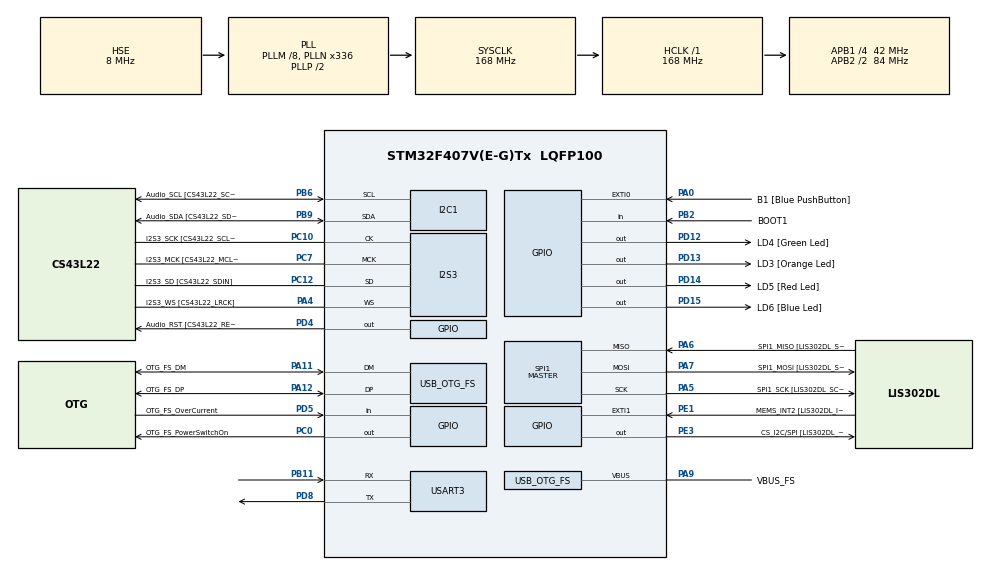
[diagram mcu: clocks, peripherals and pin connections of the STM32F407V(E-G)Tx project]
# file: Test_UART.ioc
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I2S3.AudioFreq-Half_Duplex_Master=I2S_AUDIOFREQ_96K
I2S3.ErrorAudioFreq=-2.34 %
I2S3.ErrorAudioFreq-Half_Duplex_Master=0.8 %
I2S3.FullDuplexMode=I2S_FULLDUPLEXMODE_DISABLE
I2S3.Instance=SPI$Index
I2S3.RealAudioFreq=93.75 KHz
I2S3.RealAudioFreq-Half_Duplex_Master=96.774 KHz
I2S3.VirtualMode=I2S_MODE_MASTER
Mcu.Family=STM32F4
Mcu.Name=STM32F407V(E-G)Tx
Mcu.Package=LQFP100
NVIC.OTG_FS_IRQn=true\:0\:0\:false\:false\:true\:true\:true
NVIC.PriorityGroup=NVIC_PRIORITYGROUP_0
PA0-WKUP.GPIO_Label=B1 [Blue PushButton]
PA0-WKUP.GPIO_ModeDefaultEXTI=GPIO_MODE_EVT_RISING
PA0-WKUP.GPIO_PuPd=GPIO_NOPULL
PA0-WKUP.Signal=GPXTI0
PA10.GPIO_Label=OTG_FS_ID
PA10.GPIO_Mode=GPIO_MODE_AF_PP
PA10.GPIO_PuPd=GPIO_NOPULL
PA10.GPIO_Speed=GPIO_SPEED_FREQ_LOW
PA10.Signal=USB_OTG_FS_ID
PA11.GPIO_Label=OTG_FS_DM
PA11.GPIO_Mode=GPIO_MODE_AF_PP
PA11.GPIO_PuPd=GPIO_NOPULL
PA11.GPIO_Speed=GPIO_SPEED_FREQ_LOW
PA11.Mode=Host_Only
PA11.Signal=USB_OTG_FS_DM
PA12.GPIO_Label=OTG_FS_DP
PA12.GPIO_Mode=GPIO_MODE_AF_PP
PA12.GPIO_PuPd=GPIO_NOPULL
PA12.GPIO_Speed=GPIO_SPEED_FREQ_LOW
PA12.Mode=Host_Only
PA12.Signal=USB_OTG_FS_DP
PA13.GPIO_Label=SWDIO
PA13.Mode=Serial_Wire
PA13.Signal=SYS_JTMS-SWDIO
PA14.GPIO_Label=SWCLK
PA14.Mode=Serial_Wire
PA14.Signal=SYS_JTCK-SWCLK
PA4.GPIO_Label=I2S3_WS [CS43L22_LRCK]
PA4.GPIO_Mode=GPIO_MODE_AF_PP
PA4.GPIO_PuPd=GPIO_NOPULL
PA4.GPIO_Speed=GPIO_SPEED_FREQ_LOW
PA4.Mode=Half_Duplex_Master
PA4.Signal=I2S3_WS
PA5.GPIO_Label=SPI1_SCK [LIS302DL_SCL/SPC]
PA5.GPIO_Mode=GPIO_MODE_AF_PP
PA5.GPIO_PuPd=GPIO_NOPULL
PA5.GPIO_Speed=GPIO_SPEED_FREQ_LOW
PA5.Mode=Full_Duplex_Master
PA5.Signal=SPI1_SCK
PA6.GPIO_Label=SPI1_MISO [LIS302DL_SDO]
PA6.GPIO_Mode=GPIO_MODE_AF_PP
PA6.GPIO_PuPd=GPIO_NOPULL
PA6.GPIO_Speed=GPIO_SPEED_FREQ_LOW
PA6.Mode=Full_Duplex_Master
PA6.Signal=SPI1_MISO
PA7.GPIO_Label=SPI1_MOSI [LIS302DL_SDA/SDI/SDO]
PA7.GPIO_Mode=GPIO_MODE_AF_PP
PA7.GPIO_PuPd=GPIO_NOPULL
PA7.GPIO_Speed=GPIO_SPEED_FREQ_LOW
PA7.Mode=Full_Duplex_Master
PA7.Signal=SPI1_MOSI
PA9.GPIO_Label=VBUS_FS
PA9.GPIO_Mode=GPIO_MODE_INPUT
PA9.GPIO_PuPd=GPIO_NOPULL
PA9.Mode=Activate_VBUS
PA9.Signal=USB_OTG_FS_VBUS
PB10.GPIO_Label=CLK_IN [MP45DT02_CLK]
PB10.GPIO_Mode=GPIO_MODE_AF_PP
PB10.GPIO_PuPd=GPIO_NOPULL
PB10.GPIO_Speed=GPIO_SPEED_FREQ_LOW
PB10.Signal=I2S2_CK
PB11.Mode=Asynchronous
PB11.Signal=USART3_RX
PB2.GPIO_Label=BOOT1
PB2.GPIO_Mode=GPIO_MODE_INPUT
PB2.GPIO_PuPd=GPIO_NOPULL
PB2.Signal=GPIO_Input
PB3.GPIO_Label=SWO
PB3.Signal=SYS_JTDO-SWO
PB6.GPIO_Label=Audio_SCL [CS43L22_SCL]
PB6.GPIO_Mode=GPIO_MODE_AF_OD
PB6.GPIO_PuPd=GPIO_NOPULL
PB6.GPIO_Speed=GPIO_SPEED_FREQ_LOW
PB6.Mode=I2C
PB6.Signal=I2C1_SCL
PB9.GPIO_Label=Audio_SDA [CS43L22_SDA]
PB9.GPIO_Mode=GPIO_MODE_AF_OD
PB9.GPIO_PuPd=GPIO_NOPULL
PB9.GPIO_Speed=GPIO_SPEED_FREQ_LOW
PB9.Mode=I2C
PB9.Signal=I2C1_SDA
PC0.GPIO_Label=OTG_FS_PowerSwitchOn
PC0.GPIO_PuPd=GPIO_NOPULL
PC0.GPIO_Speed=GPIO_SPEED_FREQ_LOW
PC0.PinState=GPIO_PIN_SET
PC0.Signal=GPIO_Output
PC10.GPIO_Label=I2S3_SCK [CS43L22_SCLK]
PC10.GPIO_Mode=GPIO_MODE_AF_PP
PC10.GPIO_PuPd=GPIO_NOPULL
PC10.GPIO_Speed=GPIO_SPEED_FREQ_LOW
PC10.Mode=Half_Duplex_Master
PC10.Signal=I2S3_CK
PC12.GPIO_Label=I2S3_SD [CS43L22_SDIN]
PC12.GPIO_Mode=GPIO_MODE_AF_PP
PC12.GPIO_PuPd=GPIO_NOPULL
PC12.GPIO_Speed=GPIO_SPEED_FREQ_LOW
PC12.Mode=Half_Duplex_Master
PC12.Signal=I2S3_SD
PC14-OSC32_IN.GPIO_Label=PC14-OSC32_IN
PC14-OSC32_IN.Mode=LSE-External-Oscillator
PC14-OSC32_IN.Signal=RCC_OSC32_IN
PC15-OSC32_OUT.GPIO_Label=PC15-OSC32_OUT
PC15-OSC32_OUT.Mode=LSE-External-Oscillator
PC15-OSC32_OUT.Signal=RCC_OSC32_OUT
PC3.GPIO_Label=PDM_OUT [MP45DT02_DOUT]
PC3.GPIO_Mode=GPIO_MODE_AF_PP
PC3.GPIO_PuPd=GPIO_NOPULL
PC3.GPIO_Speed=GPIO_SPEED_FREQ_LOW
PC3.Signal=I2S2_SD
PC7.GPIO_Label=I2S3_MCK [CS43L22_MCLK]
PC7.GPIO_Mode=GPIO_MODE_AF_PP
PC7.GPIO_PuPd=GPIO_NOPULL
PC7.GPIO_Speed=GPIO_SPEED_FREQ_LOW
PC7.Mode=Master_Clock_Activated
PC7.Signal=I2S3_MCK
PD12.GPIO_Label=LD4 [Green Led]
PD12.GPIO_PuPd=GPIO_NOPULL
PD12.GPIO_Speed=GPIO_SPEED_FREQ_LOW
PD12.Signal=GPIO_Output
PD13.GPIO_Label=LD3 [Orange Led]
PD13.GPIO_PuPd=GPIO_NOPULL
PD13.GPIO_Speed=GPIO_SPEED_FREQ_LOW
PD13.Signal=GPIO_Output
PD14.GPIO_Label=LD5 [Red Led]
PD14.GPIO_PuPd=GPIO_NOPULL
PD14.GPIO_Speed=GPIO_SPEED_FREQ_LOW
PD14.Signal=GPIO_Output
PD15.GPIO_Label=LD6 [Blue Led]
PD15.GPIO_PuPd=GPIO_NOPULL
PD15.GPIO_Speed=GPIO_SPEED_FREQ_LOW
PD15.Signal=GPIO_Output
PD4.GPIO_Label=Audio_RST [CS43L22_RESET]
PD4.GPIO_PuPd=GPIO_NOPULL
PD4.GPIO_Speed=GPIO_SPEED_FREQ_LOW
PD4.Signal=GPIO_Output
PD5.GPIO_Label=OTG_FS_OverCurrent
PD5.GPIO_Mode=GPIO_MODE_INPUT
PD5.GPIO_PuPd=GPIO_NOPULL
PD5.Signal=GPIO_Input
PD8.Mode=Asynchronous
PD8.Signal=USART3_TX
PE1.GPIO_Label=MEMS_INT2 [LIS302DL_INT2]
PE1.GPIO_ModeDefaultEXTI=GPIO_MODE_EVT_RISING
PE1.GPIO_PuPd=GPIO_NOPULL
PE1.Signal=GPXTI1
PE3.GPIO_Label=CS_I2C/SPI [LIS302DL_CS_I2C/SPI]
PE3.GPIO_PuPd=GPIO_NOPULL
PE3.GPIO_Speed=GPIO_SPEED_FREQ_LOW
PE3.Signal=GPIO_Output
PH0-OSC_IN.GPIO_Label=PH0-OSC_IN
PH0-OSC_IN.Mode=HSE-External-Oscillator
PH0-OSC_IN.Signal=RCC_OSC_IN
PH1-OSC_OUT.GPIO_Label=PH1-OSC_OUT
PH1-OSC_OUT.Mode=HSE-External-Oscillator
PH1-OSC_OUT.Signal=RCC_OSC_OUT
ProjectManager.HeapSize=0x200
ProjectManager.StackSize=0x400
ProjectManager.TargetToolchain=TrueSTUDIO
RCC.48MHZClocksFreq_Value=48000000
RCC.AHBFreq_Value=168000000
RCC.APB1CLKDivider=RCC_HCLK_DIV4
RCC.APB1Freq_Value=42000000
RCC.APB1TimFreq_Value=84000000
RCC.APB2CLKDivider=RCC_HCLK_DIV2
RCC.APB2Freq_Value=84000000
RCC.APB2TimFreq_Value=168000000
RCC.CortexFreq_Value=168000000
RCC.HCLKFreq_Value=168000000
RCC.HSE_VALUE=8000000
RCC.HSI_VALUE=16000000
RCC.PLLM=8
RCC.PLLN=336
RCC.PLLQ=7
RCC.SYSCLKFreq_VALUE=168000000
RCC.SYSCLKSource=RCC_SYSCLKSOURCE_PLLCLK
RCC.VCOOutputFreq_Value=336000000
SPI1.BaudRatePrescaler-Full_Duplex_Master=SPI_BAUDRATEPRESCALER_2
SPI1.CalculateBaudRate-Full_Duplex_Master=42.0 MBits/s
SPI1.Direction=SPI_DIRECTION_2LINES
SPI1.Mode=SPI_MODE_MASTER
SPI1.Mode-Full_Duplex_Master=SPI_MODE_MASTER
SPI1.VirtualType=VM_MASTER
USART3.VirtualMode=VM_ASYNC
USB_HOST.BSP.number=1
USB_HOST.USBH_HandleTypeDef-CDC_FS=hUsbHostFS
USB_HOST.VirtualModeFS=Cdc
USB_HOST0.BSP.STBoard=false
USB_HOST0.BSP.api=Unknown
USB_HOST0.BSP.i2caddr=0
USB_HOST0.BSP.i2creg=0
USB_HOST0.BSP.instance=PC0
USB_HOST0.BSP.ip=GPIO
USB_HOST0.BSP.mode=Output
USB_HOST0.BSP.name=Drive_VBUS_FS
USB_HOST0.BSP.solution=PC0
USB_OTG_FS.VirtualMode=Host_Only
USB_OTG_FS.phy_itface=HCD_PHY_EMBEDDED
VP_USB_HOST_VS_USB_HOST_CDC_FS.Mode=CDC_FS
board=STM32F407G-DISC1

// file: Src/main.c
/* USER CODE BEGIN Header */
/**
  ******************************************************************************
  * @file           : main.c
  * @brief          : Main program body
  ******************************************************************************
  * @attention
  *
  * <h2><center>&copy; Copyright (c) 2020 STMicroelectronics.
  * All rights reserved.</center></h2>
  *
  * This software component is licensed by ST under Ultimate Liberty license
  * SLA0044, the "License"; You may not use this file except in compliance with
  * the License. You may obtain a copy of the License at:
  *                             www.st.com/SLA0044
  *
  ******************************************************************************
  */
/* USER CODE END Header */

#include "main.h"
#include "usb_host.h"

I2C_HandleTypeDef hi2c1;

I2S_HandleTypeDef hi2s3;

SPI_HandleTypeDef hspi1;

UART_HandleTypeDef huart3;

void SystemClock_Config(void);
static void MX_GPIO_Init(void);
static void MX_I2C1_Init(void);
static void MX_I2S3_Init(void);
static void MX_SPI1_Init(void);
static void MX_USART3_UART_Init(void);
void MX_USB_HOST_Process(void);

int main(void)
{

  /* MCU Configuration--------------------------------------------------------*/

  /* Reset of all peripherals, Initializes the Flash interface and the Systick. */
  HAL_Init();

  /* Configure the system clock */
  SystemClock_Config();

  /* USER CODE BEGIN SysInit */
  int8_t ThresholdHigh = 100;
  int8_t ThresholdLow = -100;

  /* USER CODE END SysInit */

  /* Initialize all configured peripherals */
  MX_GPIO_Init();
  MX_I2C1_Init();
  MX_I2S3_Init();
  MX_SPI1_Init();
  MX_USART3_UART_Init();
  MX_USB_HOST_Init();

  /* Infinite loop */
  while (1)
  {
    MX_USB_HOST_Process();

    /* USER CODE BEGIN 3 */
    if(BSP_ACCELERO_Init() != HAL_OK)
      {
        /* Initialization Error */
        Error_Handler();
      }

      while(1)
      {
    	  /* Accelerometer variables */
    	  	int8_t buffer[3] = {0};
    	    int8_t xval, yval = 0x00;

    	    /* Read Acceleration */
    	    BSP_ACCELERO_GetXYZ(buffer);

    	    xval = buffer[0];
    	    yval = buffer[1];

    	    if((ABS(xval))>(ABS(yval)))
    	    {
    	      if(xval > ThresholdHigh)
    	      {
    	        HAL_UART_Transmit( &huart3, ["X", (char)100], 1, 1000 );
    	        HAL_Delay(10);
    	      }
    	      else if(xval < ThresholdLow)
    	      {
    	        HAL_UART_Transmit( &huart3, ["X", (char)-100], 1, 1000 );
    	        HAL_Delay(10);
    	      }
    	      else
    	      {
				HAL_UART_Transmit( &huart3, ["X", (char)xval], 1, 1000 );
				HAL_Delay(10);
			  }
    	    }
    	    else
    	    {
    	      if(yval < ThresholdLow)
    	      {
    	        HAL_UART_Transmit( &huart3, ["Y", (char)100], 1, 1000 );
    	        HAL_Delay(10);
    	      }
    	      else if(yval > ThresholdHigh)
    	      {
    	        HAL_UART_Transmit( &huart3, ["Y", (char)-100], 1, 1000 );
    	        HAL_Delay(10);
    	      }
    	      else
    	      {
      	        HAL_UART_Transmit( &huart3, ["Y", (char)yval], 1, 1000 );
      	        HAL_Delay(10);
    	      }
    	    }

    	    // BSP_LED_Off(LD3_Pin);
    	    // BSP_LED_Off(LD4_Pin);
    	    // BSP_LED_Off(LD5_Pin);
    	    // BSP_LED_Off(LD6_Pin);
      }
  }
  /* USER CODE END 3 */
}

void SystemClock_Config(void)
{
  RCC_OscInitTypeDef RCC_OscInitStruct = {0};
  RCC_ClkInitTypeDef RCC_ClkInitStruct = {0};
  RCC_PeriphCLKInitTypeDef PeriphClkInitStruct = {0};

  /** Configure the main internal regulator output voltage
  */
  __HAL_RCC_PWR_CLK_ENABLE();
  __HAL_PWR_VOLTAGESCALING_CONFIG(PWR_REGULATOR_VOLTAGE_SCALE1);
  /** Initializes the CPU, AHB and APB busses clocks
  */
  RCC_OscInitStruct.OscillatorType = RCC_OSCILLATORTYPE_HSE;
  RCC_OscInitStruct.HSEState = RCC_HSE_ON;
  RCC_OscInitStruct.PLL.PLLState = RCC_PLL_ON;
  RCC_OscInitStruct.PLL.PLLSource = RCC_PLLSOURCE_HSE;
  RCC_OscInitStruct.PLL.PLLM = 8;
  RCC_OscInitStruct.PLL.PLLN = 336;
  RCC_OscInitStruct.PLL.PLLP = RCC_PLLP_DIV2;
  RCC_OscInitStruct.PLL.PLLQ = 7;
  if (HAL_RCC_OscConfig(&RCC_OscInitStruct) != HAL_OK)
  {
    Error_Handler();
  }
  /** Initializes the CPU, AHB and APB busses clocks
  */
  RCC_ClkInitStruct.ClockType = RCC_CLOCKTYPE_HCLK|RCC_CLOCKTYPE_SYSCLK
                              |RCC_CLOCKTYPE_PCLK1|RCC_CLOCKTYPE_PCLK2;
  RCC_ClkInitStruct.SYSCLKSource = RCC_SYSCLKSOURCE_PLLCLK;
  RCC_ClkInitStruct.AHBCLKDivider = RCC_SYSCLK_DIV1;
  RCC_ClkInitStruct.APB1CLKDivider = RCC_HCLK_DIV4;
  RCC_ClkInitStruct.APB2CLKDivider = RCC_HCLK_DIV2;

  if (HAL_RCC_ClockConfig(&RCC_ClkInitStruct, FLASH_LATENCY_5) != HAL_OK)
  {
    Error_Handler();
  }
  PeriphClkInitStruct.PeriphClockSelection = RCC_PERIPHCLK_I2S;
  PeriphClkInitStruct.PLLI2S.PLLI2SN = 192;
  PeriphClkInitStruct.PLLI2S.PLLI2SR = 2;
  if (HAL_RCCEx_PeriphCLKConfig(&PeriphClkInitStruct) != HAL_OK)
  {
    Error_Handler();
  }
}

static void MX_I2C1_Init(void)
{

  hi2c1.Instance = I2C1;
  hi2c1.Init.ClockSpeed = 100000;
  hi2c1.Init.DutyCycle = I2C_DUTYCYCLE_2;
  hi2c1.Init.OwnAddress1 = 0;
  hi2c1.Init.AddressingMode = I2C_ADDRESSINGMODE_7BIT;
  hi2c1.Init.DualAddressMode = I2C_DUALADDRESS_DISABLE;
  hi2c1.Init.OwnAddress2 = 0;
  hi2c1.Init.GeneralCallMode = I2C_GENERALCALL_DISABLE;
  hi2c1.Init.NoStretchMode = I2C_NOSTRETCH_DISABLE;
  if (HAL_I2C_Init(&hi2c1) != HAL_OK)
  {
    Error_Handler();
  }

}

static void MX_I2S3_Init(void)
{

  hi2s3.Instance = SPI3;
  hi2s3.Init.Mode = I2S_MODE_MASTER_TX;
  hi2s3.Init.Standard = I2S_STANDARD_PHILIPS;
  hi2s3.Init.DataFormat = I2S_DATAFORMAT_16B;
  hi2s3.Init.MCLKOutput = I2S_MCLKOUTPUT_ENABLE;
  hi2s3.Init.AudioFreq = I2S_AUDIOFREQ_96K;
  hi2s3.Init.CPOL = I2S_CPOL_LOW;
  hi2s3.Init.ClockSource = I2S_CLOCK_PLL;
  hi2s3.Init.FullDuplexMode = I2S_FULLDUPLEXMODE_DISABLE;
  if (HAL_I2S_Init(&hi2s3) != HAL_OK)
  {
    Error_Handler();
  }

}

static void MX_SPI1_Init(void)
{

  /* SPI1 parameter configuration*/
  hspi1.Instance = SPI1;
  hspi1.Init.Mode = SPI_MODE_MASTER;
  hspi1.Init.Direction = SPI_DIRECTION_2LINES;
  hspi1.Init.DataSize = SPI_DATASIZE_8BIT;
  hspi1.Init.CLKPolarity = SPI_POLARITY_LOW;
  hspi1.Init.CLKPhase = SPI_PHASE_1EDGE;
  hspi1.Init.NSS = SPI_NSS_SOFT;
  hspi1.Init.BaudRatePrescaler = SPI_BAUDRATEPRESCALER_2;
  hspi1.Init.FirstBit = SPI_FIRSTBIT_MSB;
  hspi1.Init.TIMode = SPI_TIMODE_DISABLE;
  hspi1.Init.CRCCalculation = SPI_CRCCALCULATION_DISABLE;
  hspi1.Init.CRCPolynomial = 10;
  if (HAL_SPI_Init(&hspi1) != HAL_OK)
  {
    Error_Handler();
  }

}

static void MX_USART3_UART_Init(void)
{

  huart3.Instance = USART3;
  huart3.Init.BaudRate = 115200;
  huart3.Init.WordLength = UART_WORDLENGTH_8B;
  huart3.Init.StopBits = UART_STOPBITS_1;
  huart3.Init.Parity = UART_PARITY_NONE;
  huart3.Init.Mode = UART_MODE_TX_RX;
  huart3.Init.HwFlowCtl = UART_HWCONTROL_NONE;
  huart3.Init.OverSampling = UART_OVERSAMPLING_16;
  if (HAL_UART_Init(&huart3) != HAL_OK)
  {
    Error_Handler();
  }

}

static void MX_GPIO_Init(void)
{
  GPIO_InitTypeDef GPIO_InitStruct = {0};

  /* GPIO Ports Clock Enable */
  __HAL_RCC_GPIOE_CLK_ENABLE();
  __HAL_RCC_GPIOC_CLK_ENABLE();
  __HAL_RCC_GPIOH_CLK_ENABLE();
  __HAL_RCC_GPIOA_CLK_ENABLE();
  __HAL_RCC_GPIOB_CLK_ENABLE();
  __HAL_RCC_GPIOD_CLK_ENABLE();

  /*Configure GPIO pin Output Level */
  HAL_GPIO_WritePin(CS_I2C_SPI_GPIO_Port, CS_I2C_SPI_Pin, GPIO_PIN_RESET);

  /*Configure GPIO pin Output Level */
  HAL_GPIO_WritePin(OTG_FS_PowerSwitchOn_GPIO_Port, OTG_FS_PowerSwitchOn_Pin, GPIO_PIN_SET);

  /*Configure GPIO pin Output Level */
  HAL_GPIO_WritePin(GPIOD, LD4_Pin|LD3_Pin|LD5_Pin|LD6_Pin
                          |Audio_RST_Pin, GPIO_PIN_RESET);

  /*Configure GPIO pin : CS_I2C_SPI_Pin */
  GPIO_InitStruct.Pin = CS_I2C_SPI_Pin;
  GPIO_InitStruct.Mode = GPIO_MODE_OUTPUT_PP;
  GPIO_InitStruct.Pull = GPIO_NOPULL;
  GPIO_InitStruct.Speed = GPIO_SPEED_FREQ_LOW;
  HAL_GPIO_Init(CS_I2C_SPI_GPIO_Port, &GPIO_InitStruct);

  /*Configure GPIO pin : OTG_FS_PowerSwitchOn_Pin */
  GPIO_InitStruct.Pin = OTG_FS_PowerSwitchOn_Pin;
  GPIO_InitStruct.Mode = GPIO_MODE_OUTPUT_PP;
  GPIO_InitStruct.Pull = GPIO_NOPULL;
  GPIO_InitStruct.Speed = GPIO_SPEED_FREQ_LOW;
  HAL_GPIO_Init(OTG_FS_PowerSwitchOn_GPIO_Port, &GPIO_InitStruct);

  /*Configure GPIO pin : PDM_OUT_Pin */
  GPIO_InitStruct.Pin = PDM_OUT_Pin;
  GPIO_InitStruct.Mode = GPIO_MODE_AF_PP;
  GPIO_InitStruct.Pull = GPIO_NOPULL;
  GPIO_InitStruct.Speed = GPIO_SPEED_FREQ_LOW;
  GPIO_InitStruct.Alternate = GPIO_AF5_SPI2;
  HAL_GPIO_Init(PDM_OUT_GPIO_Port, &GPIO_InitStruct);

  /*Configure GPIO pin : B1_Pin */
  GPIO_InitStruct.Pin = B1_Pin;
  GPIO_InitStruct.Mode = GPIO_MODE_EVT_RISING;
  GPIO_InitStruct.Pull = GPIO_NOPULL;
  HAL_GPIO_Init(B1_GPIO_Port, &GPIO_InitStruct);

  /*Configure GPIO pin : BOOT1_Pin */
  GPIO_InitStruct.Pin = BOOT1_Pin;
  GPIO_InitStruct.Mode = GPIO_MODE_INPUT;
  GPIO_InitStruct.Pull = GPIO_NOPULL;
  HAL_GPIO_Init(BOOT1_GPIO_Port, &GPIO_InitStruct);

  /*Configure GPIO pin : CLK_IN_Pin */
  GPIO_InitStruct.Pin = CLK_IN_Pin;
  GPIO_InitStruct.Mode = GPIO_MODE_AF_PP;
  GPIO_InitStruct.Pull = GPIO_NOPULL;
  GPIO_InitStruct.Speed = GPIO_SPEED_FREQ_LOW;
  GPIO_InitStruct.Alternate = GPIO_AF5_SPI2;
  HAL_GPIO_Init(CLK_IN_GPIO_Port, &GPIO_InitStruct);

  /*Configure GPIO pins : LD4_Pin LD3_Pin LD5_Pin LD6_Pin
                           Audio_RST_Pin */
  GPIO_InitStruct.Pin = LD4_Pin|LD3_Pin|LD5_Pin|LD6_Pin
                          |Audio_RST_Pin;
  GPIO_InitStruct.Mode = GPIO_MODE_OUTPUT_PP;
  GPIO_InitStruct.Pull = GPIO_NOPULL;
  GPIO_InitStruct.Speed = GPIO_SPEED_FREQ_LOW;
  HAL_GPIO_Init(GPIOD, &GPIO_InitStruct);

  /*Configure GPIO pin : OTG_FS_OverCurrent_Pin */
  GPIO_InitStruct.Pin = OTG_FS_OverCurrent_Pin;
  GPIO_InitStruct.Mode = GPIO_MODE_INPUT;
  GPIO_InitStruct.Pull = GPIO_NOPULL;
  HAL_GPIO_Init(OTG_FS_OverCurrent_GPIO_Port, &GPIO_InitStruct);

  /*Configure GPIO pin : MEMS_INT2_Pin */
  GPIO_InitStruct.Pin = MEMS_INT2_Pin;
  GPIO_InitStruct.Mode = GPIO_MODE_EVT_RISING;
  GPIO_InitStruct.Pull = GPIO_NOPULL;
  HAL_GPIO_Init(MEMS_INT2_GPIO_Port, &GPIO_InitStruct);

}

void Error_Handler(void)
{
}

/************************ (C) COPYRIGHT STMicroelectronics *****END OF FILE****/
